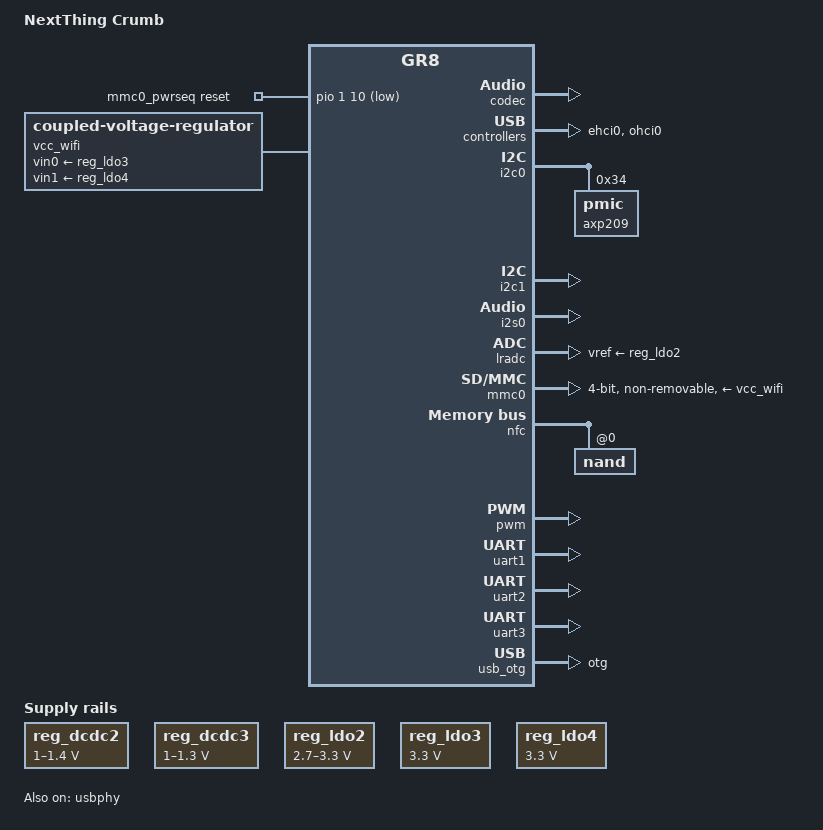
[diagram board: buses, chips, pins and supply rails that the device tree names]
/*
 * Copyright 2016 Free Electrons
 * Copyright 2016 NextThing Co
 *
 * Mylène Josserand <mylene.josserand@free-electrons.com>
 *
 * This file is dual-licensed: you can use it either under the terms
 * of the GPL or the X11 license, at your option. Note that this dual
 * licensing only applies to this file, and not this project as a
 * whole.
 *
 *  a) This file is free software; you can redistribute it and/or
 *     modify it under the terms of the GNU General Public License as
 *     published by the Free Software Foundation; either version 2 of the
 *     License, or (at your option) any later version.
 *
 *     This file is distributed in the hope that it will be useful,
 *     but WITHOUT ANY WARRANTY; without even the implied warranty of
 *     MERCHANTABILITY or FITNESS FOR A PARTICULAR PURPOSE.  See the
 *     GNU General Public License for more details.
 *
 * Or, alternatively,
 *
 *  b) Permission is hereby granted, free of charge, to any person
 *     obtaining a copy of this software and associated documentation
 *     files (the "Software"), to deal in the Software without
 *     restriction, including without limitation the rights to use,
 *     copy, modify, merge, publish, distribute, sublicense, and/or
 *     sell copies of the Software, and to permit persons to whom the
 *     Software is furnished to do so, subject to the following
 *     conditions:
 *
 *     The above copyright notice and this permission notice shall be
 *     included in all copies or substantial portions of the Software.
 *
 *     THE SOFTWARE IS PROVIDED "AS IS", WITHOUT WARRANTY OF ANY KIND,
 *     EXPRESS OR IMPLIED, INCLUDING BUT NOT LIMITED TO THE WARRANTIES
 *     OF MERCHANTABILITY, FITNESS FOR A PARTICULAR PURPOSE AND
 *     NONINFRINGEMENT. IN NO EVENT SHALL THE AUTHORS OR COPYRIGHT
 *     HOLDERS BE LIABLE FOR ANY CLAIM, DAMAGES OR OTHER LIABILITY,
 *     WHETHER IN AN ACTION OF CONTRACT, TORT OR OTHERWISE, ARISING
 *     FROM, OUT OF OR IN CONNECTION WITH THE SOFTWARE OR THE USE OR
 *     OTHER DEALINGS IN THE SOFTWARE.
 */

/dts-v1/;
#include "ntc-gr8.dtsi"
#include "sunxi-common-regulators.dtsi"

#include <dt-bindings/gpio/gpio.h>
#include <dt-bindings/input/input.h>
#include <dt-bindings/interrupt-controller/irq.h>

/ {
	model = "NextThing Crumb";
	compatible = "nextthing,crumb", "nextthing,gr8";

	aliases {
		i2c0 = &i2c0;
		i2c1 = &i2c1;
		serial0 = &uart1;
		serial1 = &uart2;
		serial2 = &uart3;
	};

	chosen {
		stdout-path = "serial0:115200n8";
	};

	mmc0_pwrseq: mmc0_pwrseq {
		compatible = "mmc-pwrseq-simple";
		pinctrl-names = "default";
		pinctrl-0 = <&wifi_reg_on_pin_crumb>;
		reset-gpios = <&pio 1 10 GPIO_ACTIVE_LOW>; /* PB10 */
	};

	/*
	 * Both LDO3 and LDO4 are used in parallel to power up the
	 * WiFi/BT Chip.
	 */
	vcc_wifi: wifi_reg {
		compatible = "coupled-voltage-regulator";
		regulator-name = "vcc-wifi";
		vin0-supply = <&reg_ldo3>;
		vin1-supply = <&reg_ldo4>;
	};
};

&codec {
	status = "okay";
};

&ehci0 {
	status = "okay";
};

&i2c0 {
	pinctrl-names = "default";
	pinctrl-0 = <&i2c0_pins_a>;
	status = "okay";

	axp209: pmic@34 {
		reg = <0x34>;

		/*
		* The interrupt is routed through the "External Fast
		* Interrupt Request" pin (ball G13 of the module)
		* directly to the main interrupt controller, without
		* any other controller interfering.
		*/
		interrupts = <0>;
	};
};

#include "axp209.dtsi"

&i2c1 {
	pinctrl-names = "default";
	pinctrl-0 = <&i2c1_pins_a>;
	status = "okay";
};

&i2s0 {
	pinctrl-names = "default";
	pinctrl-0 = <&i2s0_data_pins_a>, <&i2s0_data_pins_a>;
	status = "okay";
};

&lradc {
	vref-supply = <&reg_ldo2>;
	status = "okay";
};

&mmc0 {
	pinctrl-names = "default";
	pinctrl-0 = <&mmc0_pins_a>;
	vmmc-supply = <&vcc_wifi>;
	mmc-pwrseq = <&mmc0_pwrseq>;
	bus-width = <4>;
	non-removable;
	status = "okay";
};

&nfc {
	pinctrl-names = "default";
	pinctrl-0 = <&nand_pins_a &nand_cs0_pins_a &nand_rb0_pins_a>;
	status = "okay";

	nand@0 {
		#address-cells = <2>;
		#size-cells = <2>;
		reg = <0>;
		allwinner,rb = <0>;
		nand-ecc-mode = "hw";

		spl@0 {
			label = "SPL";
			reg = /bits/ 64 <0x0 0x400000>;
		};

		spl-backup@400000 {
			label = "SPL.backup";
			reg = /bits/ 64 <0x400000 0x400000>;
		};

		u-boot@800000 {
			label = "U-Boot";
			reg = /bits/ 64 <0x800000 0x400000>;
		};

		env@c00000 {
			label = "env";
			reg = /bits/ 64 <0xc00000 0x400000>;
		};

		rootfs@1000000 {
			label = "rootfs";
			reg = /bits/ 64 <0x1000000 0x1ff000000>;
		};
	};
};

&ohci0 {
	status = "okay";
};

&otg_sram {
	status = "okay";
};

&pio {
	usb0_id_pin_crumb: usb0-id-pin@0 {
		allwinner,pins = "PG2";
		allwinner,function = "gpio_in";
		allwinner,drive = <SUN4I_PINCTRL_10_MA>;
		allwinner,pull = <SUN4I_PINCTRL_NO_PULL>;
	};

	wifi_reg_on_pin_crumb: wifi-reg-on-pin@0 {
		allwinner,pins = "PB10";
		allwinner,function = "gpio_out";
		allwinner,drive = <SUN4I_PINCTRL_10_MA>;
		allwinner,pull = <SUN4I_PINCTRL_NO_PULL>;
	};
};

&pwm {
	pinctrl-names = "default";
	pinctrl-0 = <&pwm0_pins_a>, <&pwm1_pins_a>;
	status = "okay";
};

&reg_dcdc2 {
	regulator-min-microvolt = <1000000>;
	regulator-max-microvolt = <1400000>;
	regulator-name = "vdd-cpu";
	regulator-always-on;
};

&reg_dcdc3 {
	regulator-min-microvolt = <1000000>;
	regulator-max-microvolt = <1300000>;
	regulator-name = "vdd-sys";
	regulator-always-on;
};

&reg_ldo1 {
	regulator-name = "vdd-rtc";
};

&reg_ldo2 {
	regulator-min-microvolt = <2700000>;
	regulator-max-microvolt = <3300000>;
	regulator-name = "avcc";
	regulator-always-on;
};

&reg_ldo3 {
	regulator-min-microvolt = <3300000>;
	regulator-max-microvolt = <3300000>;
	regulator-name = "vcc-wifi-1";
};

&reg_ldo4 {
	regulator-min-microvolt = <3300000>;
	regulator-max-microvolt = <3300000>;
	regulator-name = "vcc-wifi-2";
};

&uart1 {
	pinctrl-names = "default";
	pinctrl-0 = <&uart1_pins_a>, <&uart1_cts_rts_pins_a>;
	status = "okay";
};

&uart2 {
	pinctrl-names = "default";
	pinctrl-0 = <&uart2_pins_a>, <&uart2_cts_rts_pins_a>;
	status = "okay";
};

&uart3 {
	pinctrl-names = "default";
	pinctrl-0 = <&uart3_pins_a>, <&uart3_cts_rts_pins_a>;
	status = "okay";
};

&usb_otg {
	/*
	 * The GR8-EVB has a somewhat interesting design. There's a
	 * pin supposed to control VBUS, an ID pin, a VBUS detect pin,
	 * so everything should work just fine.
	 *
	 * Except that the pin supposed to control VBUS is not
	 * connected to any controllable output, neither to the SoC
	 * through a GPIO or to the PMIC, and it is pulled down,
	 * meaning that we will never be able to enable VBUS on this
	 * board.
	 */
	dr_mode = "otg";
	status = "okay";
};

&usb_power_supply {
	status = "okay";
};

&usbphy {
	pinctrl-names = "default";
	pinctrl-0 = <&usb0_id_pin_crumb>;
	usb0_id_det-gpio = <&pio 6 2 GPIO_ACTIVE_HIGH>; /* PG2 */
	usb0_vbus_power-supply = <&usb_power_supply>;
	usb1_vbus-supply = <&reg_vcc5v0>;
	status = "okay";
};
